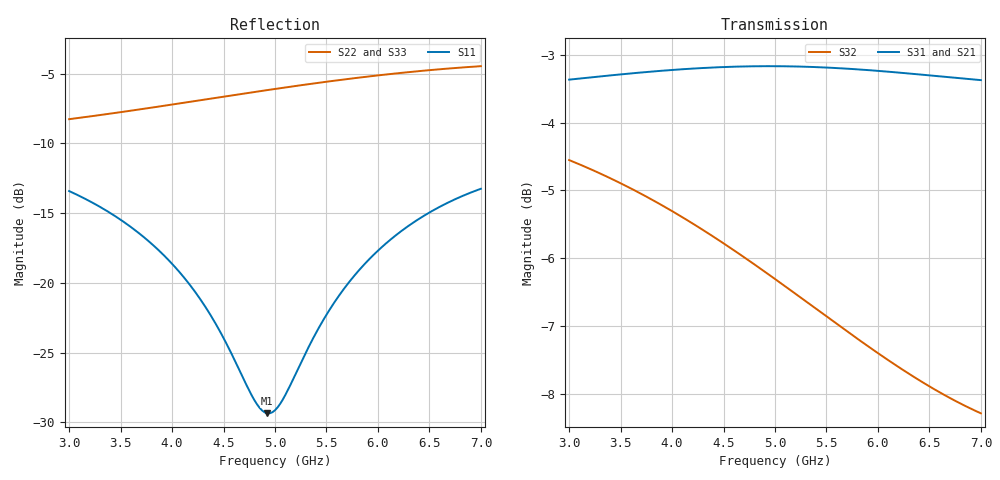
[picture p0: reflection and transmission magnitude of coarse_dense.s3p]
! yapnr rf: divider-osh-m-star-m-eq-em528-fwd, footprint re-simulated (optimization grid)
! spec sha256 a6c9cba661ca0dbccc1f7d9229f05d41a04f69e623f1cdef836865e2462231a1
! 3 ports renormalized to 50 ohm, e^(+jwt) convention
# GHz S RI R 50
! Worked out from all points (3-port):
!   161 points, 3 GHz to 7 GHz, reference 50 ohm
!   strongest paths, dB at 3 GHz, 4 GHz, 5 GHz, 6 GHz, 7 GHz:
!     S31: -3.4, -3.2, -3.2, -3.2, -3.4
!     S21: -3.4, -3.2, -3.2, -3.2, -3.4
!     S32: -4.6, -5.3, -6.3, -7.4, -8.3
!   lowest |S11| = -29.4 dB at 4.925 GHz (marker M1), VSWR 1.07, Z = 46.7 + j0.489 ohm
!   |S11| at or under -10 dB: start of sweep to end of sweep
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3  -0.1483 0.1535  0.0851 -0.6733  0.0851 -0.6733
   0.085 -0.6733  0.0748 0.379  -0.1734 -0.566
   0.085 -0.6733  -0.1734 -0.566  0.0748 0.379
3.575  -0.0936 0.131  -0.11 -0.6767  -0.11 -0.6767
       -0.11 -0.6767  0.2169 0.3516  -0.341 -0.4511
       -0.11 -0.6767  -0.341 -0.4511  0.2169 0.3516
4.05  -0.0575 0.0957  -0.2696 -0.6356  -0.2696 -0.6356
      -0.2696 -0.6355  0.3288 0.2904  -0.4331 -0.3227
      -0.2696 -0.6355  -0.4331 -0.3227  0.3288 0.2904
4.35  -0.0421 0.0671  -0.3643 -0.589  -0.3643 -0.589
      -0.3643 -0.5889  0.3915 0.2342  -0.4672 -0.2347
      -0.3643 -0.5889  -0.4672 -0.2347  0.3915 0.2342
4.925  -0.0336 0.00522  -0.521 -0.4591  -0.521 -0.4591
       -0.5209 -0.459  0.4822 0.0939  -0.4834 -0.0687
       -0.5209 -0.459  -0.4834 -0.0687  0.4822 0.0939
5  -0.0348 -0.00292  -0.5383 -0.4387  -0.5383 -0.4387
   -0.5382 -0.4386  0.4905 0.073  -0.4813 -0.0484
   -0.5382 -0.4386  -0.4813 -0.0484  0.4905 0.073
5.5  -0.0557 -0.0529  -0.6304 -0.2873  -0.6304 -0.2873
     -0.6303 -0.2873  0.5209 -0.0752  -0.4478 0.0747
     -0.6303 -0.2873  -0.4478 0.0747  0.5209 -0.0752
5.875  -0.0847 -0.0811  -0.6708 -0.1617  -0.6708 -0.1617
       -0.6708 -0.1617  0.5137 -0.1904  -0.4062 0.1503
       -0.6708 -0.1617  -0.4062 0.1503  0.5137 -0.1904
6.375  -0.1346 -0.0996  -0.685 0.0108  -0.685 0.0108
       -0.6849 0.0109  0.4644 -0.3363  -0.3387 0.2284
       -0.6849 0.0109  -0.3387 0.2284  0.4644 -0.3363
7  -0.1997 -0.0861  -0.6424 0.2175  -0.6424 0.2175
   -0.6422 0.2175  0.3489 -0.4863  -0.2475 0.295
   -0.6422 0.2175  -0.2475 0.295  0.3489 -0.4863
